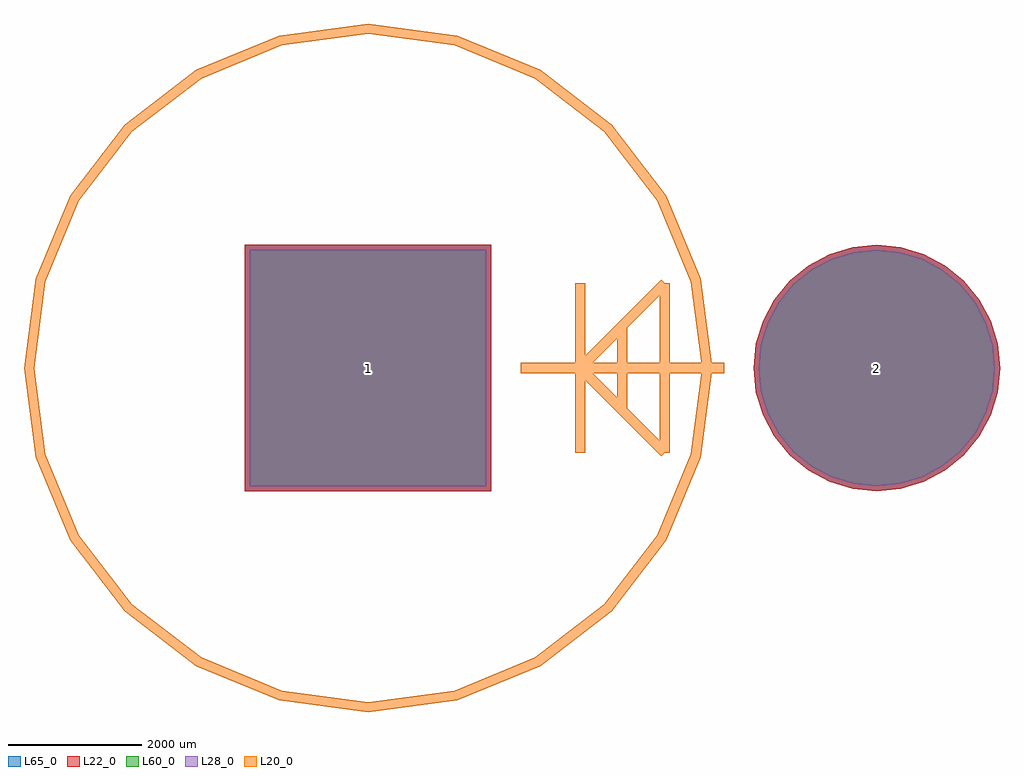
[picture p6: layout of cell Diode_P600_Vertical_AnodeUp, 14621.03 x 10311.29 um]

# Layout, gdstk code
import gdstk
lib = gdstk.Library(unit=1e-6, precision=1e-09)
def R(c, l, rs):  # rectangles x0, y0, x1, y1
    for r in rs: c.add(gdstk.rectangle(r[:2], r[2:], *l))
def P(c, l, *ps):  # polygons
    for p in ps: c.add(gdstk.Polygon(p, *l))
L20_0 = (20, 0)
L22_0 = (22, 0)
L28_0 = (28, 0)
L60_0 = (60, 0)
L65_0 = (65, 0)

diode_p600_vertical_anod = lib.new_cell('Diode_P600_Vertical_AnodeUp')
R(diode_p600_vertical_anod, L22_0, [(-1845.38,-1845.38,1845.38,1845.38)])
P(diode_p600_vertical_anod, L22_0, [(9465.38,0),(9429.922,360.016),(9324.909,706.196),(9154.377,1025.238),(8924.881,1304.881),(8645.238,1534.377),(8326.196,1704.909),(7980.016,1809.922),(7620,1845.38),(7259.984,1809.922),(6913.804,1704.909),(6594.762,1534.377),(6315.119,1304.881),(6085.623,1025.238),(5915.091,706.196),(5810.078,360.016),(5774.62,0),(5810.078,-360.016),(5915.091,-706.196),(6085.623,-1025.238),(6315.119,-1304.881),(6594.762,-1534.377),(6913.804,-1704.909),(7259.984,-1809.922),(7620,-1845.38),(7980.016,-1809.922),(8326.196,-1704.909),(8645.238,-1534.377),(8924.881,-1304.881),(9154.377,-1025.238),(9324.909,-706.196),(9429.922,-360.016)])
R(diode_p600_vertical_anod, L28_0, [(-1770.38,-1770.38,1770.38,1770.38)])
P(diode_p600_vertical_anod, L28_0, [(9390.38,0),(9356.363,345.384),(9255.618,677.495),(9092.017,983.57),(8871.848,1251.848),(8603.57,1472.017),(8297.495,1635.618),(7965.384,1736.363),(7620,1770.38),(7274.616,1736.363),(6942.505,1635.618),(6636.43,1472.017),(6368.152,1251.848),(6147.983,983.57),(5984.382,677.495),(5883.637,345.384),(5849.62,0),(5883.637,-345.384),(5984.382,-677.495),(6147.983,-983.57),(6368.152,-1251.848),(6636.43,-1472.017),(6942.505,-1635.618),(7274.616,-1736.363),(7620,-1770.38),(7965.384,-1736.363),(8297.495,-1635.618),(8603.57,-1472.017),(8871.848,-1251.848),(9092.017,-983.57),(9255.618,-677.495),(9356.363,-345.384)])
R(diode_p600_vertical_anod, L60_0, [(-1770.38,-1770.38,1770.38,1770.38)])
P(diode_p600_vertical_anod, L60_0, [(9390.38,0),(9356.363,345.384),(9255.618,677.495),(9092.017,983.57),(8871.848,1251.848),(8603.57,1472.017),(8297.495,1635.618),(7965.384,1736.363),(7620,1770.38),(7274.616,1736.363),(6942.505,1635.618),(6636.43,1472.017),(6368.152,1251.848),(6147.983,983.57),(5984.382,677.495),(5883.637,345.384),(5849.62,0),(5883.637,-345.384),(5984.382,-677.495),(6147.983,-983.57),(6368.152,-1251.848),(6636.43,-1472.017),(6942.505,-1635.618),(7274.616,-1736.363),(7620,-1770.38),(7965.384,-1736.363),(8297.495,-1635.618),(8603.57,-1472.017),(8871.848,-1251.848),(9092.017,-983.57),(9255.618,-677.495),(9356.363,-345.384)])
R(diode_p600_vertical_anod, L65_0, [(-1845.38,-1845.38,1845.38,1845.38)])
P(diode_p600_vertical_anod, L65_0, [(9465.38,0),(9429.922,360.016),(9324.909,706.196),(9154.377,1025.238),(8924.881,1304.881),(8645.238,1534.377),(8326.196,1704.909),(7980.016,1809.922),(7620,1845.38),(7259.984,1809.922),(6913.804,1704.909),(6594.762,1534.377),(6315.119,1304.881),(6085.623,1025.238),(5915.091,706.196),(5810.078,360.016),(5774.62,0),(5810.078,-360.016),(5915.091,-706.196),(6085.623,-1025.238),(6315.119,-1304.881),(6594.762,-1534.377),(6913.804,-1704.909),(7259.984,-1809.922),(7620,-1845.38),(7980.016,-1809.922),(8326.196,-1704.909),(8645.238,-1534.377),(8924.881,-1304.881),(9154.377,-1025.238),(9324.909,-706.196),(9429.922,-360.016)])
diode_p600_vertical_anod.add(gdstk.FlexPath([(5080,0),(4906.903,1314.801),(4399.409,2540),(3592.102,3592.102),(2540,4399.409),(1314.801,4906.903),(0,5080),(-1314.801,4906.903),(-2540,4399.409),(-3592.102,3592.102),(-4399.409,2540),(-4906.903,1314.801),(-5080,0),(-4906.903,-1314.801),(-4399.409,-2540),(-3592.102,-3592.102),(-2540,-4399.409),(-1314.801,-4906.903),(0,-5080),(1314.801,-4906.903),(2540,-4399.409),(3592.102,-3592.102),(4399.409,-2540),(4906.903,-1314.801),(5080,0)], 149.998, ends="flush", simple_path=True, layer=20, datatype=0))  # L20_0
diode_p600_vertical_anod.add(gdstk.FlexPath([(4445,1270),(4445,-1270)], 149.998, ends="flush", simple_path=True, layer=20, datatype=0))  # L20_0
diode_p600_vertical_anod.add(gdstk.FlexPath([(3175,1270),(3175,-1270)], 149.998, ends="flush", simple_path=True, layer=20, datatype=0))  # L20_0
diode_p600_vertical_anod.add(gdstk.FlexPath([(3175,0),(4445,1270)], 149.998, ends="flush", simple_path=True, layer=20, datatype=0))  # L20_0
diode_p600_vertical_anod.add(gdstk.FlexPath([(3175,0),(4445,-1270)], 149.998, ends="flush", simple_path=True, layer=20, datatype=0))  # L20_0
diode_p600_vertical_anod.add(gdstk.FlexPath([(3810,635),(3810,-635)], 149.998, ends="flush", simple_path=True, layer=20, datatype=0))  # L20_0
diode_p600_vertical_anod.add(gdstk.FlexPath([(3175,0),(4445,0)], 149.998, ends="flush", simple_path=True, layer=20, datatype=0))  # L20_0
diode_p600_vertical_anod.add(gdstk.FlexPath([(2286,0),(5334,0)], 149.998, ends="flush", simple_path=True, layer=20, datatype=0))  # L20_0
diode_p600_vertical_anod.add(gdstk.Label('1', (0,0), layer=28, texttype=0))
diode_p600_vertical_anod.add(gdstk.Label('2', (7620,0), layer=28, texttype=0))
diode_p600_vertical_anod.add(gdstk.Label('type', (635,6985), layer=9, texttype=0))
diode_p600_vertical_anod.add(gdstk.Label('devicename', (0,-6985), layer=9, texttype=0))

lib.write_gds('Diode_P600_Vertical_AnodeUp.gds')
